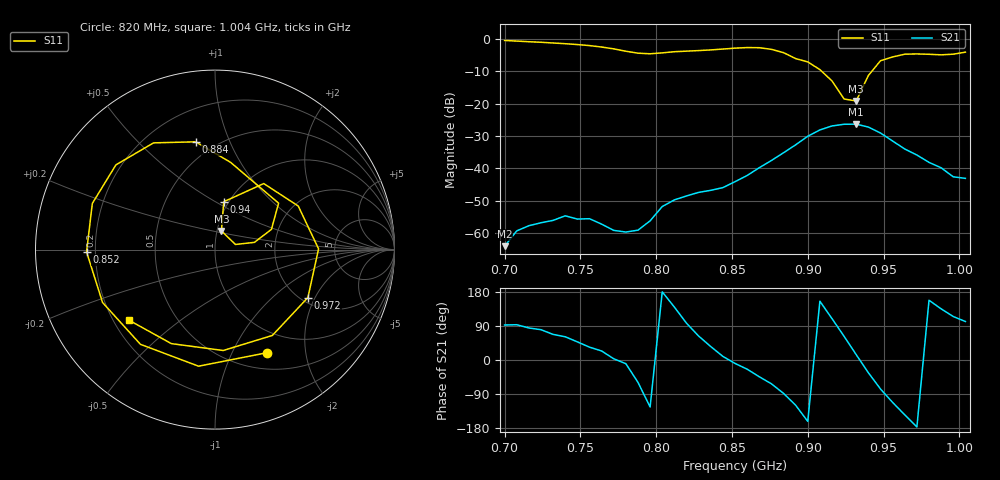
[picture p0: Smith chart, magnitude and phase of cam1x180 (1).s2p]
# Hz S RI R 50
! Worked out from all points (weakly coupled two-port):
!   39 points, 700 MHz to 1.004 GHz, reference 50 ohm
!   highest |S21| = -26.35 dB at 932 MHz (marker M1); lowest = -64.0 dB at 700 MHz (marker M2)
!   lowest |S11| = -19.2 dB at 932 MHz (marker M3), VSWR 1.25, Z = 52.5 + j11 ohm
!   |S11| at or under -10 dB: 909.1 MHz to 942.4 MHz (33.27 MHz wide, 3.59 % of centre)
!   S12 and S22 are empty: the file has one direction only
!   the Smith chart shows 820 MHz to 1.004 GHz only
!   S11 on the Smith chart (normalised r, x): 820 MHz: 0.70, -1.37; 852 MHz: 0.17, -0.01; 884 MHz: 0.40, +0.76; 940 MHz: 0.95, +0.55; 972 MHz: 2.17, -1.76; 1.004 GHz: 0.26, -0.34
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7e8  0.7601 0.5528  -2.61e-05 0.000632  0 0  0 0
7.24e8  0.8444 -0.2514  0.000254 0.00143  0 0  0 0
7.4e8  0.4563 -0.702  0.000892 0.00163  0 0  0 0
7.56e8  -0.1934 -0.7593  0.00139 0.000936  0 0  0 0
7.72e8  -0.6676 -0.2017  0.00111 6.25e-05  0 0  0 0
7.8e8  -0.6012 0.2229  0.00103 -0.000177  0 0  0 0
7.88e8  -0.2556 0.5408  0.000573 -0.000958  0 0  0 0
7.96e8  0.236 0.5359  -0.00087 -0.00129  0 0  0 0
8.04e8  0.5737 0.1917  -0.00258 3.62e-06  0 0  0 0
8.2e8  0.2888 -0.5746  -0.000471 0.00374  0 0  0 0
8.36e8  -0.4154 -0.5278  0.00374 0.00267  0 0  0 0
8.52e8  -0.7155 -0.0131  0.00616 -0.000978  0 0  0 0
8.68e8  -0.5521 0.4721  0.00735 -0.00714  0 0  0 0
8.84e8  -0.1075 0.6005  0.000617 -0.0174  0 0  0 0
9e8  0.3544 0.2587  -0.0298 -0.00972  0 0  0 0
9.08e8  0.3145 0.1127  -0.0355 0.0165  0 0  0 0
9.32e8  0.0359 0.1037  0.0467 0.0115  0 0  0 0
9.4e8  0.0488 0.2667  0.0361 -0.0241  0 0  0 0
9.56e8  0.4638 0.2427  -0.0099 -0.0245  0 0  0 0
9.72e8  0.5176 -0.2671  -0.0161 -0.000916  0 0  0 0
9.88e8  0.0458 -0.5621  -0.00723 0.00723  0 0  0 0
1.004e9  -0.4795 -0.3932  -0.00141 0.00688  0 0  0 0
